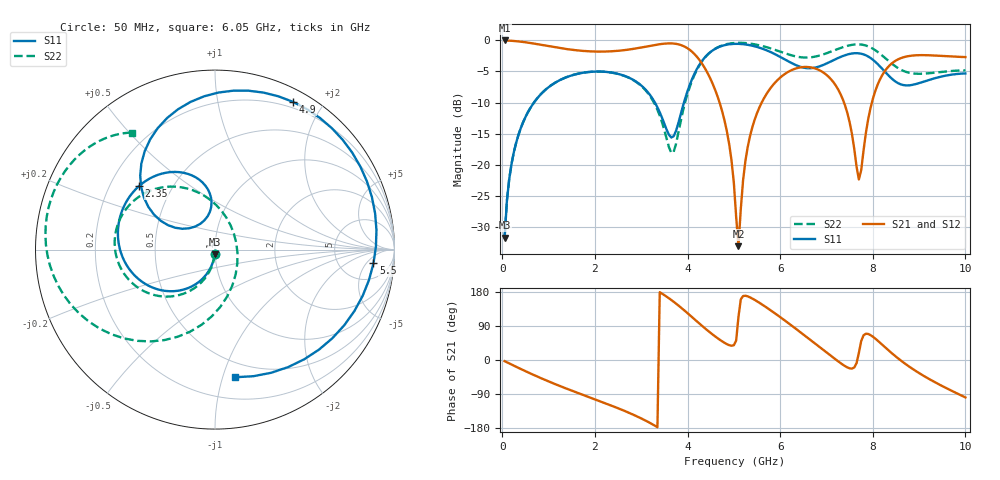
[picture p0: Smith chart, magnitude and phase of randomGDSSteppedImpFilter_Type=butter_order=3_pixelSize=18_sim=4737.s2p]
! freq	dB(S11)	phase(S11)	dB(S12)	phase(S12)
!  dB(S21)	phase(S21)	dB(S22)	phase(S22)
!S-par simulation data
#  GHz  S  DB  R 50
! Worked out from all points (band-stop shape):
!   200 points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, 50 MHz to 10 GHz, reference 50 ohm
!   highest |S21| = -0.01 dB at 50 MHz (marker M1); lowest = -33.1 dB at 5.1 GHz (marker M2)
!   |S21| within 3 dB of the highest: start of sweep to 4.243 GHz; 8.559 GHz to end of sweep
!   lowest |S11| = -31.8 dB at 50 MHz (marker M3), VSWR 1.05, Z = 49.8 - j2.57 ohm
!   |S11| at or under -10 dB: start of sweep to 684.5 MHz; 3.295 GHz to 3.923 GHz (628.4 MHz wide, 17.4 % of centre)
!   |S22| runs from -31.8 to -0.4 dB; largest |S21 - S12| = 0
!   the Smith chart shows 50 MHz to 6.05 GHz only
!   S11 on the Smith chart (normalised r, x): 50 MHz: 1.00, -0.05; 2.35 GHz: 0.32, +0.33; 4.9 GHz: 0.13, +1.65; 5.5 GHz: 11, -8; 6.05 GHz: 0.37, -1.10
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0.05  -31.76 -93.3  -0.01 -3.0  -0.01 -3.0  -31.75 -92.9
0.2  -19.84 -103.3  -0.06 -12.0  -0.06 -12.0  -19.84 -101.6
0.5  -12.34 -122.1  -0.30 -29.5  -0.30 -29.5  -12.33 -117.9
1.75  -5.20 169.8  -1.69 -92.4  -1.69 -92.4  -5.19 -175.5
2.35  -5.16 140.2  -1.75 -120.1  -1.75 -120.1  -5.17 159.2
3.4  -11.57 94.2  -0.61 179.0  -0.61 179.0  -12.11 88.4
3.7  -15.42 130.7  -0.50 153.8  -0.50 153.8  -17.95 -8.4
4.1  -6.18 143.8  -1.84 113.0  -1.84 113.0  -6.43 -106.8
4.9  -0.62 62.2  -16.71 39.2  -16.71 39.2  -0.52 178.4
5.05  -0.55 46.1  -28.39 51.3  -28.39 51.3  -0.40 168.8
5.1  -0.55 40.7  -33.11 113.9  -33.11 113.9  -0.39 165.9
5.25  -0.65 24.1  -19.38 169.6  -19.38 169.6  -0.43 157.5
5.5  -1.05 -5.0  -11.72 155.0  -11.72 155.0  -0.70 145.2
6.05  -2.85 -81.0  -5.68 108.8  -5.68 108.8  -1.93 125.5
6.7  -4.44 159.6  -4.40 48.6  -4.40 48.6  -2.68 116.4
7.15  -3.19 73.5  -6.72 6.0  -6.72 6.0  -1.65 107.6
7.55  -2.11 0.1  -15.04 -22.7  -15.04 -22.7  -0.71 90.8
7.7  -2.08 -28.7  -22.38 18.9  -22.38 18.9  -0.64 82.4
7.95  -2.82 -79.8  -10.92 65.8  -10.92 65.8  -1.12 67.7
8.35  -5.72 -168.5  -4.12 24.4  -4.12 24.4  -3.36 51.3
8.9  -7.08 78.0  -2.41 -26.7  -2.41 -26.7  -5.34 48.1
10  -5.31 -40.9  -2.68 -98.8  -2.68 -98.8  -4.82 24.8
